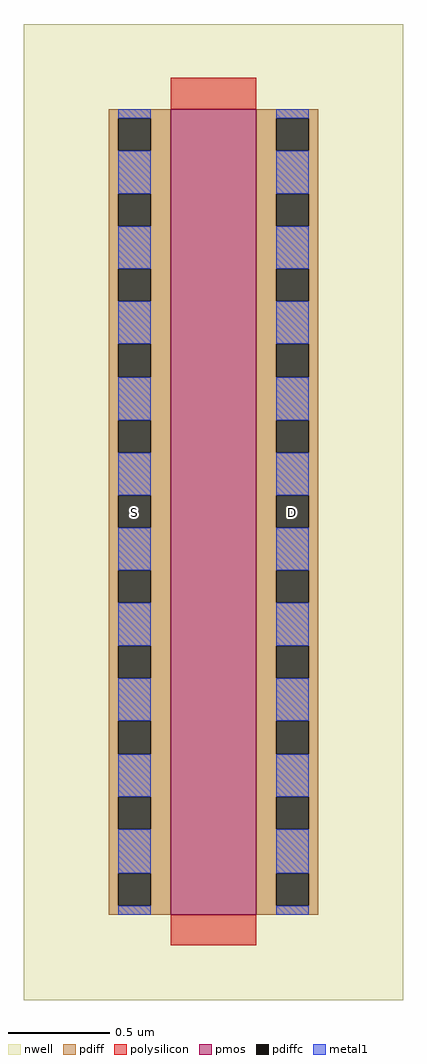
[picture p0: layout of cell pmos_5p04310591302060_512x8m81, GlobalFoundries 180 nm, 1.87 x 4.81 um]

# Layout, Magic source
magic
tech gf180mcuD
magscale 1 10
<< nwell >>
rect -145 -84 229 877
<< pmos >>
rect 0 0 84 793
<< pdiff >>
rect -61 784 0 793
rect -61 752 -52 784
rect -20 752 0 784
rect -61 710 0 752
rect -61 678 -52 710
rect -20 678 0 710
rect -61 636 0 678
rect -61 604 -52 636
rect -20 604 0 636
rect -61 562 0 604
rect -61 529 -52 562
rect -20 529 0 562
rect -61 487 0 529
rect -61 455 -52 487
rect -20 455 0 487
rect -61 413 0 455
rect -61 381 -52 413
rect -20 381 0 413
rect -61 339 0 381
rect -61 307 -52 339
rect -20 307 0 339
rect -61 265 0 307
rect -61 233 -52 265
rect -20 233 0 265
rect -61 191 0 233
rect -61 158 -52 191
rect -20 158 0 191
rect -61 116 0 158
rect -61 84 -52 116
rect -20 84 0 116
rect -61 41 0 84
rect -61 9 -52 41
rect -20 9 0 41
rect -61 0 0 9
rect 84 784 145 793
rect 84 752 104 784
rect 136 752 145 784
rect 84 710 145 752
rect 84 678 104 710
rect 136 678 145 710
rect 84 636 145 678
rect 84 604 104 636
rect 136 604 145 636
rect 84 562 145 604
rect 84 529 104 562
rect 136 529 145 562
rect 84 487 145 529
rect 84 455 104 487
rect 136 455 145 487
rect 84 413 145 455
rect 84 381 104 413
rect 136 381 145 413
rect 84 339 145 381
rect 84 307 104 339
rect 136 307 145 339
rect 84 265 145 307
rect 84 233 104 265
rect 136 233 145 265
rect 84 191 145 233
rect 84 158 104 191
rect 136 158 145 191
rect 84 116 145 158
rect 84 84 104 116
rect 136 84 145 116
rect 84 41 145 84
rect 84 9 104 41
rect 136 9 145 41
rect 84 0 145 9
<< pdiffc >>
rect -52 752 -20 784
rect -52 678 -20 710
rect -52 604 -20 636
rect -52 529 -20 562
rect -52 455 -20 487
rect -52 381 -20 413
rect -52 307 -20 339
rect -52 233 -20 265
rect -52 158 -20 191
rect -52 84 -20 116
rect -52 9 -20 41
rect 104 752 136 784
rect 104 678 136 710
rect 104 604 136 636
rect 104 529 136 562
rect 104 455 136 487
rect 104 381 136 413
rect 104 307 136 339
rect 104 233 136 265
rect 104 158 136 191
rect 104 84 136 116
rect 104 9 136 41
<< polysilicon >>
rect 0 793 84 824
rect 0 -30 84 0
<< metal1 >>
rect -52 784 -20 793
rect -52 710 -20 752
rect -52 636 -20 678
rect -52 562 -20 604
rect -52 487 -20 529
rect -52 413 -20 455
rect -52 339 -20 381
rect -52 265 -20 307
rect -52 191 -20 233
rect -52 116 -20 158
rect -52 41 -20 84
rect -52 0 -20 9
rect 104 784 136 793
rect 104 710 136 752
rect 104 636 136 678
rect 104 562 136 604
rect 104 487 136 529
rect 104 413 136 455
rect 104 339 136 381
rect 104 265 136 307
rect 104 191 136 233
rect 104 116 136 158
rect 104 41 136 84
rect 104 0 136 9
<< labels >>
flabel pdiffc -36 396 -36 396 0 FreeSans 280 0 0 0 S
flabel pdiffc 120 396 120 396 0 FreeSans 280 0 0 0 D
<< end >>
